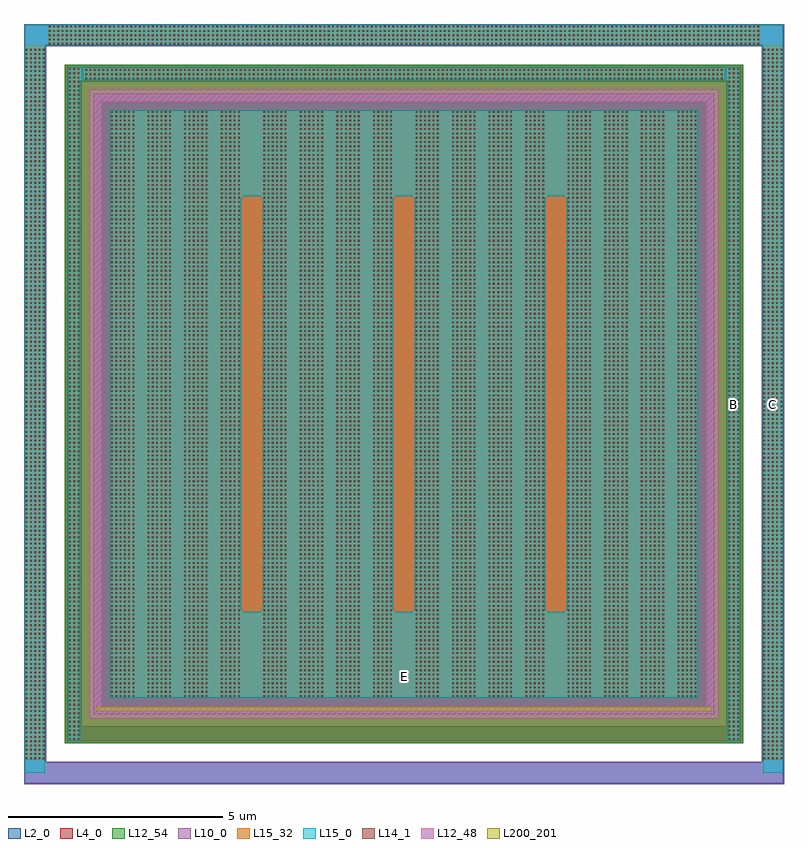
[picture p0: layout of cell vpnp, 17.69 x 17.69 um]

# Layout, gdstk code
import gdstk
lib = gdstk.Library(unit=1e-6, precision=1e-09)
def R(c, l, rs):  # rectangles x0, y0, x1, y1
    for r in rs: c.add(gdstk.rectangle(r[:2], r[2:], *l))
def A(c, l, x, y, w, h, nx, ny, dx, dy):  # array of equal rectangles
    R(c, l, [(x+i*dx, y+j*dy, x+i*dx+w, y+j*dy+h) for i in range(nx) for j in range(ny)])
L2_0 = (2, 0)
L4_0 = (4, 0)
L10_0 = (10, 0)
L12_48 = (12, 48)
L12_54 = (12, 54)
L14_1 = (14, 1)
L15_0 = (15, 0)
L15_32 = (15, 32)
L200_201 = (200, 201)

vpnp = lib.new_cell('vpnp')
R(vpnp, L2_0, [(-15.329,-7.359,2.323,-6.879), (-15.329,-6.879,-14.849,9.813), (1.843,-6.879,2.323,9.813), (-14.349,-6.379,1.343,-6.039), (-14.349,-6.039,-14.009,8.973), (1.003,-6.039,1.343,8.973), (-13.653,-5.683,0.647,8.617), (-14.349,8.973,1.343,9.313), (-15.329,9.813,2.323,10.293)])
R(vpnp, L4_0, [(-14.405,-6.435,1.399,9.369)])
R(vpnp, L10_0, [(-15.35,-7.38,2.344,-6.858), (-15.35,-6.858,-14.828,9.792), (1.822,-6.858,2.344,9.792), (-13.723,-5.753,0.717,8.687), (-15.35,9.792,2.344,10.314)])
R(vpnp, L12_48, [(-13.834,-5.864,0.828,-5.558), (-13.834,-5.558,-13.528,8.492), (0.522,-5.558,0.828,8.492), (-13.834,8.492,0.828,8.798)])
R(vpnp, L12_54, [(-14.405,-6.435,1.399,9.369)])
A(vpnp, L14_1, -15.309, -6.803, 0.04, 0.04, 5, 166, 0.1, 0.1)
A(vpnp, L14_1, 1.863, -6.803, 0.04, 0.04, 5, 166, 0.1, 0.1)
A(vpnp, L14_1, -14.299, -6.353, 0.04, 0.04, 3, 157, 0.1, 0.1)
A(vpnp, L14_1, 1.053, -6.353, 0.04, 0.04, 3, 157, 0.1, 0.1)
A(vpnp, L14_1, -13.323, -5.353, 0.04, 0.04, 6, 137, 0.1, 0.1)
A(vpnp, L14_1, -12.471, -5.353, 0.04, 0.04, 6, 137, 0.1, 0.1)
A(vpnp, L14_1, -11.619, -5.353, 0.04, 0.04, 6, 137, 0.1, 0.1)
A(vpnp, L14_1, -10.767, -5.353, 0.04, 0.04, 5, 137, 0.1, 0.1)
A(vpnp, L14_1, -9.779, -5.353, 0.04, 0.04, 6, 137, 0.1, 0.1)
A(vpnp, L14_1, -8.927, -5.353, 0.04, 0.04, 6, 137, 0.1, 0.1)
A(vpnp, L14_1, -8.075, -5.353, 0.04, 0.04, 6, 137, 0.1, 0.1)
A(vpnp, L14_1, -7.223, -5.353, 0.04, 0.04, 5, 137, 0.1, 0.1)
A(vpnp, L14_1, -6.235, -5.353, 0.04, 0.04, 6, 137, 0.1, 0.1)
A(vpnp, L14_1, -5.383, -5.353, 0.04, 0.04, 6, 137, 0.1, 0.1)
A(vpnp, L14_1, -4.531, -5.353, 0.04, 0.04, 6, 137, 0.1, 0.1)
A(vpnp, L14_1, -3.679, -5.353, 0.04, 0.04, 5, 137, 0.1, 0.1)
A(vpnp, L14_1, -2.691, -5.353, 0.04, 0.04, 6, 137, 0.1, 0.1)
A(vpnp, L14_1, -1.839, -5.353, 0.04, 0.04, 6, 137, 0.1, 0.1)
A(vpnp, L14_1, -0.987, -5.353, 0.04, 0.04, 6, 137, 0.1, 0.1)
A(vpnp, L14_1, -0.135, -5.353, 0.04, 0.04, 5, 137, 0.1, 0.1)
A(vpnp, L14_1, -13.923, 9.023, 0.04, 0.04, 149, 3, 0.1, 0.1)
A(vpnp, L14_1, -14.773, 9.833, 0.04, 0.04, 166, 5, 0.1, 0.1)
A(vpnp, L15_0, -13.341, -3.371, 3.044, 9.676, 4, 1, 3.544, 0)
R(vpnp, L15_0, [(-15.327,-7.119,-14.851,10.291), (1.845,-7.119,2.321,10.291), (-14.317,-6.371,-14.041,9.305), (1.035,-6.371,1.311,9.305), (-13.341,-5.371,0.335,-3.371), (-13.341,6.305,0.335,8.305), (-14.041,9.005,1.035,9.305), (-14.851,9.815,1.845,10.291)])
R(vpnp, L15_32, [(-15.327,-6.821,-14.851,9.815), (1.845,-6.821,2.321,9.815), (-14.317,-6.371,-14.041,9.305), (1.035,-6.371,1.311,9.305), (-13.341,-5.371,0.335,8.305), (-13.941,9.005,0.935,9.281), (-14.791,9.815,1.785,10.291)])
R(vpnp, L200_201, [(-13.653,-5.683,0.647,-5.583)])
vpnp.add(gdstk.Label('E', (-6.503,-4.871), layer=15, texttype=20))
vpnp.add(gdstk.Label('B', (1.173,1.467), layer=15, texttype=20))
vpnp.add(gdstk.Label('C', (2.083,1.467), layer=15, texttype=20))

lib.write_gds('vpnp.gds')
